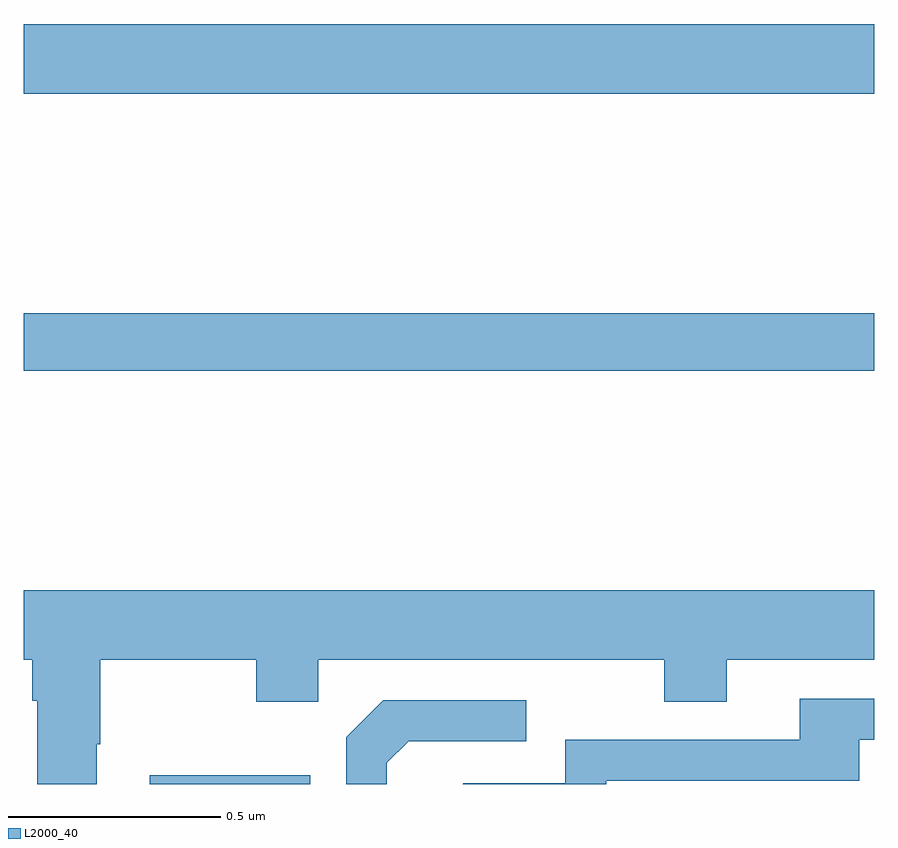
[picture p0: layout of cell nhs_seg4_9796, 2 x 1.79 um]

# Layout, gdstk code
import gdstk
lib = gdstk.Library(unit=1e-6, precision=1e-09)
def R(c, l, rs):  # rectangles x0, y0, x1, y1
    for r in rs: c.add(gdstk.rectangle(r[:2], r[2:], *l))
def P(c, l, *ps):  # polygons
    for p in ps: c.add(gdstk.Polygon(p, *l))
L2000_40 = (2000, 40)

nhs_seg4_9796 = lib.new_cell('nhs_seg4_9796')
R(nhs_seg4_9796, L2000_40, [(232.296,757.9,232.673,757.921), (232,758.872,234,759.008), (232,759.524,234,759.688)])
P(nhs_seg4_9796, L2000_40, [(232.171,757.993),(232.179,757.993),(232.179,758.192),(232.546,758.192),(232.546,758.093),(232.692,758.093),(232.692,758.192),(233.506,758.192),(233.506,758.093),(233.653,758.093),(233.653,758.192),(234,758.192),(234,758.356),(232,758.356),(232,758.192),(232.019,758.192),(232.019,758.096),(232.031,758.096),(232.031,757.9),(232.171,757.9)],
  [(233.37,757.908),(233.965,757.908),(233.965,758.004),(234,758.004),(234,758.1),(233.825,758.1),(233.825,758.004),(233.274,758.004),(233.274,757.902),(233.034,757.902),(233.032,757.9),(233.37,757.9)],
  [(232.854,757.95),(232.905,758.001),(233.182,758.001),(233.182,758.097),(232.845,758.097),(232.758,758.01),(232.758,757.9),(232.854,757.9)])

lib.write_gds('nhs_seg4_9796.gds')
